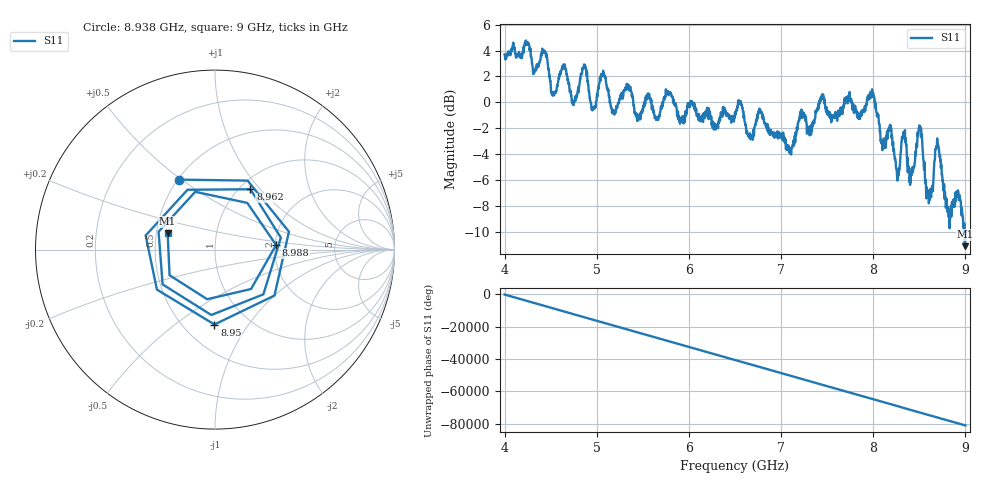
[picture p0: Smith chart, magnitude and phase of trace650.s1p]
! Created with skrf 1.8.0 (http://scikit-rf.org).
# Hz S RI R 50.0
!freq ReS11 ImS11
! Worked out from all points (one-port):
!   1601 points, 4 GHz to 9 GHz, reference 50 ohm
!   lowest |S11| = -11.1 dB at 9 GHz (marker M1), VSWR 1.78, Z = 28.7 + j5.71 ohm
!   |S11| at or under -10 dB: 8.989671 GHz to end of sweep
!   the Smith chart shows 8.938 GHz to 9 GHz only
!   S11 on the Smith chart (normalised r, x): 8.938 GHz: 0.51, +0.49; 8.95 GHz: 0.70, -0.71; 8.962 GHz: 1.12, +0.89; 8.988 GHz: 2.03, +0.12; 9 GHz: 0.57, +0.11
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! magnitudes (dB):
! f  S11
! 4 GHz  3.7
! 4.434 GHz  3.9
! 4.531 GHz  0.8
! 4.625 GHz  2.8
! 4.747 GHz  0.0
! 4.862 GHz  2.9
! 4.962 GHz  -0.4
! 5.059 GHz  2.2
! 5.25 GHz  0.3
! 5.875 GHz  -0.8
! 6.5 GHz  -0.8
! 7.125 GHz  -3.3
! 7.441 GHz  0.5
! 7.75 GHz  0.3
! 7.988 GHz  1.0
! 8.103 GHz  -3.3
! 8.266 GHz  -5.8
! 8.334 GHz  -2.4
! 8.375 GHz  -5.4
! 8.506 GHz  -2.0
! 8.6 GHz  -7.1
! 8.697 GHz  -3.1
! 8.812 GHz  -8.0
! 8.938 GHz  -7.2
! 8.95 GHz  -7.6
! 8.962 GHz  -8.2
! 8.988 GHz  -9.3
! 9 GHz  -11.1
